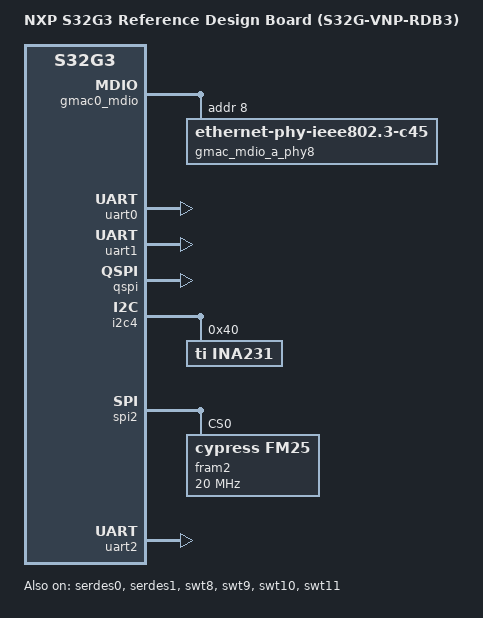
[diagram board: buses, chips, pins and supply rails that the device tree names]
// SPDX-License-Identifier: GPL-2.0-or-later OR MIT
/*
 * Device Tree file for S32G399ARDB3 Board Rev E.
 *
 * Copyright 2022-2024 NXP
 */

/dts-v1/;

#include "s32g3.dtsi"
#include "s32gxxxa-rdb.dtsi"

/ {
	model = "NXP S32G3 Reference Design Board (S32G-VNP-RDB3)";
	compatible = "nxp,s32g399a-rdb3", "nxp,s32g3";
};

&gmac0_mdio {
	/* AQR113C */
	gmac_mdio_a_phy8: ethernet-phy@3 {
		compatible = "ethernet-phy-ieee802.3-c45";
		#address-cells = <1>;
		#size-cells = <0>;
		reg = <8>;
	};
};

/* UART (J2) to Micro USB port */
&uart0 {
	status = "okay";
};

/* UART (J1) to Micro USB port */
&uart1 {
	status = "okay";
};

&qspi {
	status = "okay";
};

&serdes0 {
	status = "okay";
};

&serdes1 {
	status = "okay";
};

&i2c4 {
	ina231@40 {
		compatible = "ti,ina231";
		reg = <0x40>;
		shunt-resistor = <1000>;
	};
};

&pfe_netif1 {
	phy-mode = "sgmii";
	phy-handle = <&gmac_mdio_a_phy8>;
};

&swt8 {
	status = "okay";
};

&swt9 {
	status = "okay";
};

&swt10 {
	status = "okay";
};

&swt11 {
	status = "okay";
};

&usdhc0 {
	mmc-hs200-1_8v;
	mmc-hs400-1_8v;
	mmc-hs400-enhanced-strobe;
	disable-wp;
	/* Remove no-1-8-v to enable higher speed modes for SD card such as: SDR50 or DDR50
	 * or eMMC memory, such as HS200, HS400 or HS400 ES respectively.
	 */
	no-1-8-v;
};

/*zhdz add*/
// &spi1 {
// 	#address-cells = <1>;
// 	#size-cells = <0>;
//     status = "okay";

//     fram0: cy15b116q-sxet@0 {        
// 	compatible = "cypress,fm25";
//     reg = <0>;
//     spi-max-frequency = <20000000>;
//     status = "okay";
//     };
// };

&pinctrl {
	dspi2_pins: dspi2_pins {
		dspi2_grp0 {
			pinmux = <S32CC_PINMUX(157, FUNC2)>;//MOSI PJ_13 A11 GPIO157
			output-enable;
			slew-rate = <S32CC_GPIO_3V3_SLEW_50MHZ>;
		};

		dspi2_grp1 {
			pinmux = <S32CC_PINMUX(155, FUNC2)>;//CS E12 PJ_11 GPIO155
			output-enable;
			input-enable;
			slew-rate = <S32CC_GPIO_3V3_SLEW_50MHZ>;
			bias-pull-up;
		};

		dspi2_grp2 {
			pinmux = <S32CC_PINMUX(153, FUNC2)>;//SCK B12 PJ_09 GPIO153
			output-enable;
			input-enable;
			slew-rate = <S32CC_GPIO_3V3_SLEW_50MHZ>;
		};

		dspi2_grp3 {
			pinmux = <S32CC_PINMUX(158, FUNC0)>;//MISO C16 PJ_14 GPIO158
			input-enable;
			slew-rate = <S32CC_GPIO_3V3_SLEW_50MHZ>;
			bias-pull-up;
		};

		dspi2_grp4 {
			pinmux = <S32CC_PINMUX(990, FUNC2)>,//CS
				 	 <S32CC_PINMUX(991, FUNC3)>,//SCK
				     <S32CC_PINMUX(992, FUNC3)>;//MISO
		};
	};

	uart2_pins: uart2_pins {
		uart2_pins_grp0 {
			pinmux = <S32CC_PINMUX(171, FUNC2)>;
			output-enable;
			slew-rate = <S32CC_GPIO_3V3_SLEW_50MHZ>;
		};

		uart2_pins_grp1 {
			pinmux = <S32CC_PINMUX(172, FUNC0)>;
			input-enable;
			slew-rate = <S32CC_GPIO_3V3_SLEW_50MHZ>;
		};

		uart2_pins_grp2 {
			pinmux = <S32CC_PINMUX(737, FUNC4)>;
		};
	};
};

&spi2 {
	pinctrl-names = "default";
	pinctrl-0 = <&dspi2_pins>;
	#address-cells = <1>;
	#size-cells = <0>;
	status = "okay";

	spi-num-chipselects = <1>;

    fram2: cy15b116q-sxet@0 {        
		compatible = "cypress,fm25";
    	reg = <0>;
    	spi-max-frequency = <20000000>;
    	// spi-max-frequency = <100000>;
		size = <1000000>;
    	status = "okay";
    };
};

&uart2 {
	pinctrl-0 = <&uart2_pins>;
	pinctrl-names = "default";
	status = "okay";
};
